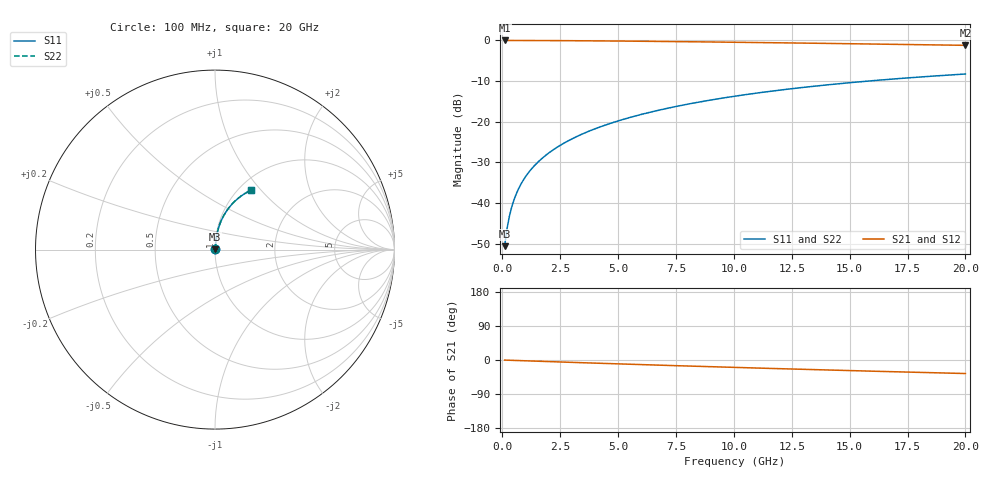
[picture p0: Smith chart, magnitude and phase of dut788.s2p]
! Touchstone file exported from HFSS 2024.1.0
!  File:  C:/UserFiles/LocalFiles/RDL_TSV_Batchsim/temp_RDL_top_788_1779853267.aedt
!  Generated:  11:43:20 AM May 27, 2026
!  Design:  RDL_top
!  Project:  temp_RDL_top_788_1779853267
!  Setup:  Setup1
!  Solution:  Sweep
! Variables:
!  dtsv = 10.80580581um
!  hbump = 3um
!  htsv = 92.5um
!  ldown = 100um
!  lrdl = 454.02um
!  p = 40
!  p1 = 57.02um
!  rhole = 1um
!  t = 450um
!  tdown = 3.915915916um
!  trdl = 4.94um
!  wdown = 15.38538539um
!  wrdl = 17.13um
# GHz S MA R 50.000000
! Terminal data exported
! Port[1] = Box2_T1
! Port[2] = Box2_T2
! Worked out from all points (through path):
!   200 points, 100 MHz to 20 GHz, reference 50 ohm
!   highest |S21| = -0.02 dB at 100 MHz (marker M1); lowest = -1.2 dB at 20 GHz (marker M2)
!   group delay of S21, straight-line fit = 4.94 ps
!   lowest |S11| = -50.6 dB at 100 MHz (marker M3), VSWR 1.01, Z = 50.2 + j0.214 ohm
!   |S11| at or under -10 dB: start of sweep to 15.82 GHz
!   |S22| runs from -50.6 to -8.3 dB; largest |S21 - S12| = 3.4e-15
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0.1  0.002935 46.6  0.998 -0.2  0.998 -0.2  0.002935 46.6
! Gamma 0 0 0 0
! Port Impedance 50 0 50 0
0.2  0.004732 64.1  0.9979 -0.4  0.9979 -0.4  0.004732 64.1
0.3  0.00672 71.5  0.9978 -0.6  0.9978 -0.6  0.006719 71.4
0.4  0.008755 75.2  0.9977 -0.9  0.9977 -0.9  0.008755 75.2
0.5  0.0108 77.5  0.9975 -1.1  0.9975 -1.1  0.0108 77.5
0.7  0.01487 80.0  0.9973 -1.5  0.9973 -1.5  0.01487 80.0
0.8  0.0169 80.7  0.9971 -1.7  0.9971 -1.7  0.0169 80.7
1  0.02093 81.8  0.9969 -2.1  0.9969 -2.1  0.02093 81.8
1.2  0.02495 82.5  0.9965 -2.5  0.9965 -2.5  0.02495 82.5
1.4  0.02896 82.9  0.9961 -2.9  0.9961 -2.9  0.02896 82.9
1.7  0.03498 83.4  0.9955 -3.6  0.9955 -3.6  0.03497 83.4
2  0.04101 83.6  0.9947 -4.2  0.9947 -4.2  0.041 83.6
2.7  0.05512 83.7  0.9924 -5.6  0.9924 -5.6  0.05512 83.7
3.5  0.07136 83.3  0.9892 -7.3  0.9892 -7.3  0.07136 83.3
4.2  0.08565 82.7  0.9859 -8.7  0.9859 -8.7  0.08566 82.8
5  0.1021 81.9  0.9817 -10.2  0.9817 -10.2  0.1021 81.9
6.8  0.1392 79.7  0.971 -13.7  0.971 -13.7  0.1392 79.7
8.4  0.1722 77.4  0.9603 -16.6  0.9603 -16.6  0.1722 77.4
10.1  0.2069 74.7  0.9482 -19.7  0.9482 -19.7  0.2069 74.8
13.4  0.2717 69.4  0.9231 -25.3  0.9231 -25.3  0.2718 69.4
16.7  0.3316 64.0  0.8965 -30.7  0.8965 -30.7  0.3318 64.1
20  0.3857 58.9  0.8692 -35.7  0.8692 -35.7  0.3859 59.0
